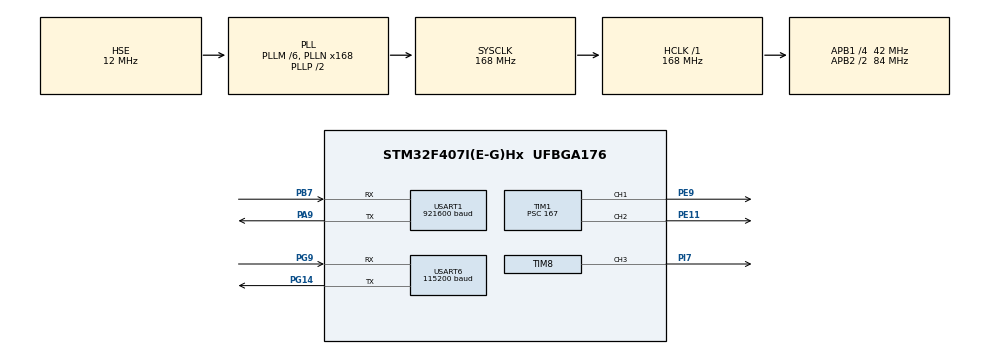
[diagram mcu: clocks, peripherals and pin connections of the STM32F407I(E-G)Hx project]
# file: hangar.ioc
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FREERTOS.Tasks01=JudgeTask,2,256,StartDefaultTask,Default,NULL,Dynamic,NULL,NULL;VtxCmdTask,2,256,StartTask02,Default,NULL,Dynamic,NULL,NULL;ControlTask,0,516,StartTask03,Default,NULL,Dynamic,NULL,NULL
Mcu.Family=STM32F4
Mcu.Name=STM32F407I(E-G)Hx
Mcu.Package=UFBGA176
NVIC.PriorityGroup=NVIC_PRIORITYGROUP_4
NVIC.TIM6_DAC_IRQn=true\:15\:0\:false\:false\:true\:false\:false\:true\:true
NVIC.TimeBase=TIM6_DAC_IRQn
NVIC.TimeBaseIP=TIM6
NVIC.USART1_IRQn=true\:5\:0\:false\:false\:true\:true\:true\:true\:true
NVIC.USART6_IRQn=true\:5\:0\:false\:false\:true\:true\:true\:true\:true
PA13.Mode=Serial_Wire
PA13.Signal=SYS_JTMS-SWDIO
PA14.Mode=Serial_Wire
PA14.Signal=SYS_JTCK-SWCLK
PA9.GPIO_Speed=GPIO_SPEED_FREQ_HIGH
PA9.Mode=Asynchronous
PA9.Signal=USART1_TX
PB7.GPIO_PuPd=GPIO_PULLUP
PB7.GPIO_Speed=GPIO_SPEED_FREQ_HIGH
PB7.Mode=Asynchronous
PB7.Signal=USART1_RX
PE11.Signal=S_TIM1_CH2
PE9.Signal=S_TIM1_CH1
PG14.GPIO_Speed=GPIO_SPEED_FREQ_HIGH
PG14.Mode=Asynchronous
PG14.Signal=USART6_TX
PG9.GPIO_PuPd=GPIO_PULLUP
PG9.GPIO_Speed=GPIO_SPEED_FREQ_HIGH
PG9.Mode=Asynchronous
PG9.Signal=USART6_RX
PH0-OSC_IN.Mode=HSE-External-Oscillator
PH0-OSC_IN.Signal=RCC_OSC_IN
PH1-OSC_OUT.Mode=HSE-External-Oscillator
PH1-OSC_OUT.Signal=RCC_OSC_OUT
PI7.Signal=S_TIM8_CH3
ProjectManager.HeapSize=0x200
ProjectManager.StackSize=0x400
ProjectManager.TargetToolchain=MDK-ARM V5.32
RCC.48MHZClocksFreq_Value=84000000
RCC.AHBFreq_Value=168000000
RCC.APB1CLKDivider=RCC_HCLK_DIV4
RCC.APB1Freq_Value=42000000
RCC.APB1TimFreq_Value=84000000
RCC.APB2CLKDivider=RCC_HCLK_DIV2
RCC.APB2Freq_Value=84000000
RCC.APB2TimFreq_Value=168000000
RCC.CortexFreq_Value=168000000
RCC.HCLKFreq_Value=168000000
RCC.HSE_VALUE=12000000
RCC.HSI_VALUE=16000000
RCC.LSE_VALUE=32768
RCC.PLLM=6
RCC.PLLN=168
RCC.PLLSourceVirtual=RCC_PLLSOURCE_HSE
RCC.SYSCLKFreq_VALUE=168000000
RCC.SYSCLKSource=RCC_SYSCLKSOURCE_PLLCLK
RCC.VCOOutputFreq_Value=336000000
SH.S_TIM1_CH1.0=TIM1_CH1,PWM Generation1 CH1
SH.S_TIM1_CH2.0=TIM1_CH2,PWM Generation2 CH2
SH.S_TIM8_CH3.0=TIM8_CH3,PWM Generation3 CH3
TIM1.Channel-PWM\ Generation1\ CH1=TIM_CHANNEL_1
TIM1.Channel-PWM\ Generation2\ CH2=TIM_CHANNEL_2
TIM1.Period=19999
TIM1.Prescaler=167
TIM1.Pulse-PWM\ Generation1\ CH1=2000
TIM1.Pulse-PWM\ Generation2\ CH2=2000
TIM8.Channel-PWM\ Generation3\ CH3=TIM_CHANNEL_3
TIM8.Pulse-PWM\ Generation3\ CH3=10000
USART1.BaudRate=921600
USART1.VirtualMode=VM_ASYNC
USART6.BaudRate=115200
USART6.VirtualMode=VM_ASYNC
VP_FREERTOS_VS_CMSIS_V1.Mode=CMSIS_V1
VP_SYS_VS_tim6.Mode=TIM6
VP_TIM1_VS_ClockSourceINT.Mode=Internal
VP_TIM8_VS_ClockSourceINT.Mode=Internal
board=custom

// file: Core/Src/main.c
/* USER CODE BEGIN Header */
/**
  ******************************************************************************
  * @file           : main.c
  * @brief          : Main program body
  ******************************************************************************
  * @attention
  *
  * Copyright (c) 2026 STMicroelectronics.
  * All rights reserved.
  *
  * This software is licensed under terms that can be found in the LICENSE file
  * in the root directory of this software component.
  * If no LICENSE file comes with this software, it is provided AS-IS.
  *
  ******************************************************************************
  */
/* USER CODE END Header */
#include "main.h"
#include "cmsis_os.h"
#include "tim.h"
#include "usart.h"
#include "gpio.h"

/* USER CODE BEGIN Includes */
#include "servo.h"
#include "referee.h"
/* USER CODE END Includes */

void SystemClock_Config(void);
void MX_FREERTOS_Init(void);

int main(void)
{

  /* USER CODE BEGIN 1 */
  servo_target_t s_door[SERVO_CH_NUM];  /* 舱门舵机目标（上电归位用） */
/* USER CODE END 1 */

  /* MCU Configuration--------------------------------------------------------*/

  /* Reset of all peripherals, Initializes the Flash interface and the Systick. */
  HAL_Init();

  /* Configure the system clock */
  SystemClock_Config();

  /* Initialize all configured peripherals */
  MX_GPIO_Init();
  MX_USART6_UART_Init();
  MX_USART1_UART_Init();
  MX_TIM1_Init();
  MX_TIM8_Init();
  /* USER CODE BEGIN 2 */
  Servo_Init(&htim1, HANGAR_DOOR_CLOSE_POS);  /* 启动 TIM1 双通道 PWM，先压到关严位再上电 */
  Referee_Init(&huart6);                       /* 裁判系统接在 USART6 */

  s_door[0].id  = SERVO_CH_DOOR_L;
  s_door[0].pos = HANGAR_DOOR_CLOSE_POS;
  s_door[1].id  = SERVO_CH_DOOR_R;
  s_door[1].pos = HANGAR_DOOR_CLOSE_POS;
  Servo_MoveMulti(s_door, SERVO_CH_NUM, 1000u);
  HAL_Delay(1500);
/* USER CODE END 2 */

  /* Call init function for freertos objects (in cmsis_os2.c) */
  MX_FREERTOS_Init();

  /* Start scheduler */
  osKernelStart();

  /* We should never get here as control is now taken by the scheduler */

  /* Infinite loop */
  while (1)
  {

    /* USER CODE BEGIN 3 */
    /* 业务状态机已迁入 ControlTask（freertos.c），此处不再执行裸机循环 */
  }
  /* USER CODE END 3 */
}

void SystemClock_Config(void)
{
  RCC_OscInitTypeDef RCC_OscInitStruct = {0};
  RCC_ClkInitTypeDef RCC_ClkInitStruct = {0};

  /** Configure the main internal regulator output voltage
  */
  __HAL_RCC_PWR_CLK_ENABLE();
  __HAL_PWR_VOLTAGESCALING_CONFIG(PWR_REGULATOR_VOLTAGE_SCALE1);

  /** Initializes the RCC Oscillators according to the specified parameters
  * in the RCC_OscInitTypeDef structure.
  */
  RCC_OscInitStruct.OscillatorType = RCC_OSCILLATORTYPE_HSE;
  RCC_OscInitStruct.HSEState = RCC_HSE_ON;
  RCC_OscInitStruct.PLL.PLLState = RCC_PLL_ON;
  RCC_OscInitStruct.PLL.PLLSource = RCC_PLLSOURCE_HSE;
  RCC_OscInitStruct.PLL.PLLM = 6;
  RCC_OscInitStruct.PLL.PLLN = 168;
  RCC_OscInitStruct.PLL.PLLP = RCC_PLLP_DIV2;
  RCC_OscInitStruct.PLL.PLLQ = 4;
  if (HAL_RCC_OscConfig(&RCC_OscInitStruct) != HAL_OK)
  {
    Error_Handler();
  }

  /** Initializes the CPU, AHB and APB buses clocks
  */
  RCC_ClkInitStruct.ClockType = RCC_CLOCKTYPE_HCLK|RCC_CLOCKTYPE_SYSCLK
                              |RCC_CLOCKTYPE_PCLK1|RCC_CLOCKTYPE_PCLK2;
  RCC_ClkInitStruct.SYSCLKSource = RCC_SYSCLKSOURCE_PLLCLK;
  RCC_ClkInitStruct.AHBCLKDivider = RCC_SYSCLK_DIV1;
  RCC_ClkInitStruct.APB1CLKDivider = RCC_HCLK_DIV4;
  RCC_ClkInitStruct.APB2CLKDivider = RCC_HCLK_DIV2;

  if (HAL_RCC_ClockConfig(&RCC_ClkInitStruct, FLASH_LATENCY_5) != HAL_OK)
  {
    Error_Handler();
  }
}

void HAL_TIM_PeriodElapsedCallback(TIM_HandleTypeDef *htim)
{
  if (htim->Instance == TIM6) {
    HAL_IncTick();
  }
}

void Error_Handler(void)
{
  __disable_irq();
  while (1)
  {
  }
}

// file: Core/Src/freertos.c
/* USER CODE BEGIN Header */
/**
  ******************************************************************************
  * File Name          : freertos.c
  * Description        : Code for freertos applications
  ******************************************************************************
  * @attention
  *
  * Copyright (c) 2026 STMicroelectronics.
  * All rights reserved.
  *
  * This software is licensed under terms that can be found in the LICENSE file
  * in the root directory of this software component.
  * If no LICENSE file comes with this software, it is provided AS-IS.
  *
  ******************************************************************************
  */
/* USER CODE END Header */

#include "FreeRTOS.h"
#include "task.h"
#include "main.h"
#include "cmsis_os.h"

/* USER CODE BEGIN Includes */
#include "servo.h"
#include "referee.h"
/* USER CODE END Includes */

/* USER CODE BEGIN PD */
/* 开舱触发阶段：比赛中 */
#define HANGAR_OPEN_STAGE        REFEREE_STAGE_IN_BATTLE
/* USER CODE END PD */

osThreadId JudgeTaskHandle;
osThreadId VtxCmdTaskHandle;
osThreadId ControlTaskHandle;

void StartDefaultTask(void const * argument);
void StartTask02(void const * argument);
void StartTask03(void const * argument);

void MX_FREERTOS_Init(void); /* (MISRA C 2004 rule 8.1) */

/* GetIdleTaskMemory prototype (linked to static allocation support) */
void vApplicationGetIdleTaskMemory( StaticTask_t **ppxIdleTaskTCBBuffer, StackType_t **ppxIdleTaskStackBuffer, uint32_t *pulIdleTaskStackSize );

/* USER CODE BEGIN GET_IDLE_TASK_MEMORY */
static StaticTask_t xIdleTaskTCBBuffer;
static StackType_t xIdleStack[configMINIMAL_STACK_SIZE];

void vApplicationGetIdleTaskMemory( StaticTask_t **ppxIdleTaskTCBBuffer, StackType_t **ppxIdleTaskStackBuffer, uint32_t *pulIdleTaskStackSize )
{
  *ppxIdleTaskTCBBuffer = &xIdleTaskTCBBuffer;
  *ppxIdleTaskStackBuffer = &xIdleStack[0];
  *pulIdleTaskStackSize = configMINIMAL_STACK_SIZE;
  /* place for user code */
}
/* USER CODE END GET_IDLE_TASK_MEMORY */

void MX_FREERTOS_Init(void) {

  /* Create the thread(s) */
  /* definition and creation of JudgeTask */
  osThreadDef(JudgeTask, StartDefaultTask, osPriorityHigh, 0, 256);
  JudgeTaskHandle = osThreadCreate(osThread(JudgeTask), NULL);

  /* definition and creation of VtxCmdTask */
  osThreadDef(VtxCmdTask, StartTask02, osPriorityHigh, 0, 256);
  VtxCmdTaskHandle = osThreadCreate(osThread(VtxCmdTask), NULL);

  /* definition and creation of ControlTask */
  osThreadDef(ControlTask, StartTask03, osPriorityNormal, 0, 516);
  ControlTaskHandle = osThreadCreate(osThread(ControlTask), NULL);

}

void StartDefaultTask(void const * argument)
{
  for(;;)
  {
    osDelay(1);
  }
}

void StartTask02(void const * argument)
{
  for(;;)
  {
    osDelay(1);
  }
}

void StartTask03(void const * argument)
{
  /* USER CODE BEGIN StartTask03 */
  servo_target_t s_door[SERVO_CH_NUM];
  uint8_t        s_door_is_open = 0u;  /* 舱门当前状态：0 = 关严，1 = 全开 */

  s_door[0].id  = SERVO_CH_DOOR_L;
  s_door[0].pos = HANGAR_DOOR_CLOSE_POS;
  s_door[1].id  = SERVO_CH_DOOR_R;
  s_door[1].pos = HANGAR_DOOR_CLOSE_POS;

  /* Infinite loop */
  for(;;)
  {
    Servo_Update();  /* 推进舵机插值，非阻塞 */

    if (!REFEREE_HAS_FRAME())
    {
      osDelay(10);
      continue;
    }

    uint8_t stage     = Referee_GetStage();
    uint8_t want_open;

    if (stage == HANGAR_OPEN_STAGE)
    {
      want_open = 1u;  /* 比赛中，开门 */
    }
    else if (stage == REFEREE_STAGE_SETTLEMENT)
    {
      want_open = 0u;  /* 结算，关门 */
    }
    else
    {
      want_open = s_door_is_open;  /* 其余阶段保持现状 */
    }

    /* 只有期望状态变了才下发，避免每轮重复改占空比 */
    if (want_open != s_door_is_open)
    {
      s_door_is_open = want_open;
      s_door[0].pos = want_open ? HANGAR_DOOR_OPEN_POS : HANGAR_DOOR_CLOSE_POS;
      s_door[1].pos = want_open ? HANGAR_DOOR_OPEN_POS : HANGAR_DOOR_CLOSE_POS;
      Servo_MoveMulti(s_door, SERVO_CH_NUM, HANGAR_DOOR_TIME_MS);
    }

    osDelay(10);
  }
/* USER CODE END StartTask03 */
}
